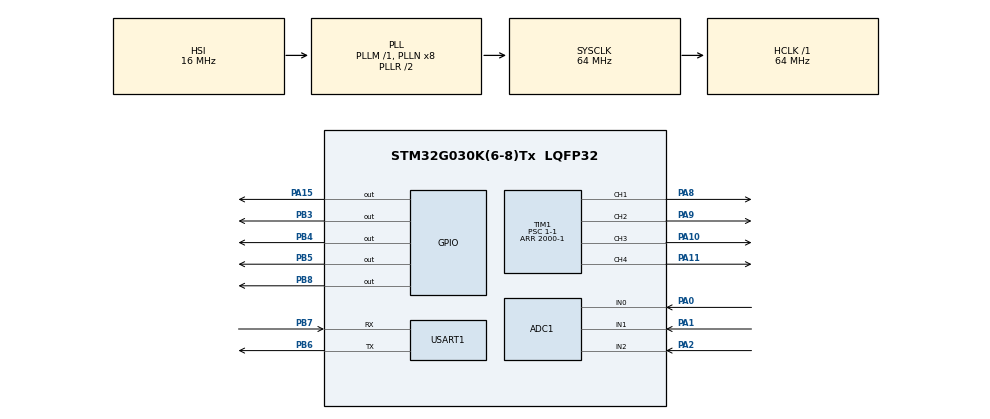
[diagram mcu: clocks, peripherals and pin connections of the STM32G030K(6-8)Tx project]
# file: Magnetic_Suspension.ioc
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ADC1.Channel-0\#ChannelRegularConversion=ADC_CHANNEL_0
ADC1.Channel-1\#ChannelRegularConversion=ADC_CHANNEL_1
ADC1.Channel-2\#ChannelRegularConversion=ADC_CHANNEL_2
ADC1.DMAContinuousRequests=ENABLE
ADC1.ExternalTrigConv=ADC_EXTERNALTRIG_T3_TRGO
ADC1.NbrOfConversion=3
ADC1.NbrOfConversionFlag=1
ADC1.Rank-0\#ChannelRegularConversion=1
ADC1.Rank-1\#ChannelRegularConversion=2
ADC1.Rank-2\#ChannelRegularConversion=3
ADC1.SamplingTime-0\#ChannelRegularConversion=ADC_SAMPLINGTIME_COMMON_1
ADC1.SamplingTime-1\#ChannelRegularConversion=ADC_SAMPLINGTIME_COMMON_1
ADC1.SamplingTime-2\#ChannelRegularConversion=ADC_SAMPLINGTIME_COMMON_1
ADC1.SamplingTimeCommon1=ADC_SAMPLETIME_160CYCLES_5
ADC1.SamplingTimeCommon2=ADC_SAMPLETIME_160CYCLES_5
ADC1.SelectedChannel=ADC_CHANNEL_0|ADC_CHANNEL_1|ADC_CHANNEL_2
ADC1.master=1
Dma.ADC1.0.Direction=DMA_PERIPH_TO_MEMORY
Dma.ADC1.0.EventEnable=DISABLE
Dma.ADC1.0.Instance=DMA1_Channel1
Dma.ADC1.0.MemDataAlignment=DMA_MDATAALIGN_HALFWORD
Dma.ADC1.0.MemInc=DMA_MINC_ENABLE
Dma.ADC1.0.Mode=DMA_CIRCULAR
Dma.ADC1.0.PeriphDataAlignment=DMA_PDATAALIGN_HALFWORD
Dma.ADC1.0.PeriphInc=DMA_PINC_DISABLE
Dma.ADC1.0.Polarity=HAL_DMAMUX_REQ_GEN_RISING
Dma.ADC1.0.Priority=DMA_PRIORITY_LOW
Dma.ADC1.0.RequestNumber=1
Dma.ADC1.0.SignalID=NONE
Dma.ADC1.0.SyncEnable=DISABLE
Dma.ADC1.0.SyncPolarity=HAL_DMAMUX_SYNC_NO_EVENT
Dma.ADC1.0.SyncRequestNumber=1
Dma.ADC1.0.SyncSignalID=NONE
Dma.Request0=ADC1
Mcu.Family=STM32G0
Mcu.Name=STM32G030K(6-8)Tx
Mcu.Package=LQFP32
NVIC.DMA1_Channel1_IRQn=true\:0\:0\:true\:false\:true\:false\:true
NVIC.TIM14_IRQn=true\:0\:0\:false\:false\:true\:true\:true
PA0.Mode=IN0
PA0.Signal=ADC1_IN0
PA1.Mode=IN1
PA1.Signal=ADC1_IN1
PA10.Signal=S_TIM1_CH3
PA11\ [PA9].Signal=S_TIM1_CH4
PA13.Mode=Serial_Wire
PA13.Signal=SYS_SWDIO
PA14-BOOT0.Mode=Serial_Wire
PA14-BOOT0.Signal=SYS_SWCLK
PA15.Signal=GPIO_Output
PA2.Mode=IN2
PA2.Signal=ADC1_IN2
PA8.Signal=S_TIM1_CH1
PA9.Signal=S_TIM1_CH2
PB3.Signal=GPIO_Output
PB4.Signal=GPIO_Output
PB5.Signal=GPIO_Output
PB6.Mode=Asynchronous
PB6.Signal=USART1_TX
PB7.Mode=Asynchronous
PB7.Signal=USART1_RX
PB8.Signal=GPIO_Output
ProjectManager.HeapSize=0x200
ProjectManager.StackSize=0x400
ProjectManager.TargetToolchain=MDK-ARM V5.32
RCC.ADCFreq_Value=64000000
RCC.AHBFreq_Value=64000000
RCC.CortexFreq_Value=64000000
RCC.EXTERNAL_CLOCK_VALUE=12288000
RCC.HCLKFreq_Value=64000000
RCC.HSE_VALUE=8000000
RCC.HSI_VALUE=16000000
RCC.LSE_VALUE=32768
RCC.SYSCLKFreq_VALUE=64000000
RCC.SYSCLKSource=RCC_SYSCLKSOURCE_PLLCLK
RCC.VCOOutputFreq_Value=128000000
SH.S_TIM1_CH1.0=TIM1_CH1,PWM Generation1 CH1
SH.S_TIM1_CH2.0=TIM1_CH2,PWM Generation2 CH2
SH.S_TIM1_CH3.0=TIM1_CH3,PWM Generation3 CH3
SH.S_TIM1_CH4.0=TIM1_CH4,PWM Generation4 CH4
TIM1.Channel-PWM\ Generation1\ CH1=TIM_CHANNEL_1
TIM1.Channel-PWM\ Generation2\ CH2=TIM_CHANNEL_2
TIM1.Channel-PWM\ Generation3\ CH3=TIM_CHANNEL_3
TIM1.Channel-PWM\ Generation4\ CH4=TIM_CHANNEL_4
TIM1.Period=2000-1
TIM1.Prescaler=1-1
TIM14.AutoReloadPreload=TIM_AUTORELOAD_PRELOAD_ENABLE
TIM14.ClockDivision=TIM_CLOCKDIVISION_DIV1
TIM14.Period=1000
TIM14.Prescaler=64-1
TIM3.Period=50
TIM3.Prescaler=2-1
TIM3.TIM_MasterOutputTrigger=TIM_TRGO_UPDATE
USART1.VirtualMode-Asynchronous=VM_ASYNC
VP_TIM14_VS_ClockSourceINT.Mode=Enable_Timer
VP_TIM1_VS_ClockSourceINT.Mode=Internal
VP_TIM3_VS_ClockSourceINT.Mode=Internal
board=custom

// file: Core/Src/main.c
/* USER CODE BEGIN Header */
/**
  ******************************************************************************
  * @file           : main.c
  * @brief          : Main program body
  ******************************************************************************
  * @attention
  *
  * <h2><center>&copy; Copyright (c) 2022 STMicroelectronics.
  * All rights reserved.</center></h2>
  *
  * This software component is licensed by ST under BSD 3-Clause license,
  * the "License"; You may not use this file except in compliance with the
  * License. You may obtain a copy of the License at:
  *                        opensource.org/licenses/BSD-3-Clause
  *
  ******************************************************************************
  */
/* USER CODE END Header */
#include "main.h"
#include "adc.h"
#include "dma.h"
#include "tim.h"
#include "usart.h"
#include "gpio.h"

/* USER CODE BEGIN Includes */
#include <stdio.h>
/* USER CODE END Includes */

void SystemClock_Config(void);

/* USER CODE BEGIN 0 */

static uint16_t s_adcRes[10][3];
static uint16_t adc_res[3];
void adc_init(void)
{
    HAL_ADC_Start_DMA(&hadc1, (uint32_t *)s_adcRes, 30);
}
uint16_t Adc1(void)
{
    uint32_t res = 0;
    for(uint8_t i = 0; i< 10; i++)
    {
        res += s_adcRes[i][0];
    }
    res = res / 10;
//    printf("ADC1: %d \r\n", res);
    return res;
}
uint16_t Adc2(void)
{
    uint32_t res = 0;
    for(uint8_t i = 0; i< 10; i++)
    {
        res += s_adcRes[i][1];
    }
    res = res / 10;
//    printf("ADC2: %d \r\n", res);
    return res;
}
uint16_t Adc3(void)
{
    uint32_t res = 0;
    for(uint8_t i = 0; i< 10; i++)
    {
        res += s_adcRes[i][2];
    }
    res = res / 10;
//    printf("ADC3: %d \r\n", res);
    return res;
}
int16_t COIL_X=0, COIL_Y=0, COIL_Z=0;
#define Max_Cycle Cycle - 10//限制幅度
#define Min_Cycle -(Cycle - 10)

typedef struct//结构体
{
    int targetValue;//设定值
    int Error;//误差
    int prevError;//上次误差
    int Integral;//误差积分
    float Kp;//比例系数
    float Ki;//没用
    float Kd;//微分系数
}PID;

PID xPID,yPID;

void Init_PID_Parameter(void)
{
    xPID.targetValue = 2450; //
    yPID.targetValue = 2600;
    xPID.Error = 0;
    yPID.Error = 0;
    xPID.prevError=0;
    yPID.prevError=0;

    xPID.Ki = 0.0f;
    yPID.Ki = 0.0f;

    xPID.Kp = 13.0f;
    yPID.Kp = 13.0f;

    xPID.Kd = 33.5f;
    yPID.Kd = 33.5f;
}
int16_t  Calc_PID(PID *pid,uint16_t Pos)//位置PID
{
    int16_t output;
    int16_t Differential;                              //微分变量

    pid->Error = (pid->targetValue - Pos);         //      误差有正负

    pid->Integral += pid->Error;                   //      误差累计

    Differential = pid->Error - pid->prevError;    //      微分部分本次误差减去上次误差

    output = (pid->Kp * pid->Error + pid->Integral * pid->Ki + pid->Kd * Differential);//通过比例 积分 微分参数算出输出控制量 可省略积分部分

    pid->prevError = pid->Error;                   //      本次误差赋值为上次

    if(output>Max_Cycle)                           //      超过上限则输出恒定值
        output = Max_Cycle;

    if(output<Min_Cycle)
        output = Min_Cycle;

    return output;
}
/**
  * @brief  电机PWM幅值
  * @param  moto1：电机1PWM
  * @param  moto2：电机2PWM
  * @retval 无
  */
void set_PWM(int16_t coil1,int16_t coil2)
{
	if(coil1 > 0)
	{
		PWM2_Duty(coil1);
		PWM1_Duty(0);
	}
	else
	{
		PWM2_Duty(0);
		PWM1_Duty(-coil1);
	}

	if(coil2 > 0)
	{
		PWM3_Duty(coil2);
		PWM4_Duty(0);
	}
	else
	{
		PWM3_Duty(0);
		PWM4_Duty(-coil2);
	}
}
void set_LED(uint8_t statue)
{
    if(statue == 0)
    {
        HAL_GPIO_WritePin(GPIOB, GPIO_PIN_8, GPIO_PIN_SET);
        HAL_GPIO_WritePin(GPIOB, GPIO_PIN_5, GPIO_PIN_SET);
        HAL_GPIO_WritePin(GPIOB, GPIO_PIN_4, GPIO_PIN_SET);
        HAL_GPIO_WritePin(GPIOB, GPIO_PIN_3, GPIO_PIN_SET);
        HAL_GPIO_WritePin(GPIOA, GPIO_PIN_15, GPIO_PIN_SET);
    }
    if(statue == 1)
    {
        HAL_GPIO_WritePin(GPIOB, GPIO_PIN_8, GPIO_PIN_RESET);
        HAL_GPIO_WritePin(GPIOB, GPIO_PIN_5, GPIO_PIN_RESET);
        HAL_GPIO_WritePin(GPIOB, GPIO_PIN_4, GPIO_PIN_RESET);
        HAL_GPIO_WritePin(GPIOB, GPIO_PIN_3, GPIO_PIN_RESET);
        HAL_GPIO_WritePin(GPIOA, GPIO_PIN_15, GPIO_PIN_RESET);
    }
}
/* USER CODE END 0 */

int main(void)
{
  /* USER CODE BEGIN 1 */
    uint8_t x = 0;
  /* USER CODE END 1 */

  /* MCU Configuration--------------------------------------------------------*/

  /* Reset of all peripherals, Initializes the Flash interface and the Systick. */
  HAL_Init();

  /* Configure the system clock */
  SystemClock_Config();

  /* Initialize all configured peripherals */
  MX_GPIO_Init();

  MX_TIM1_Init();
  MX_DMA_Init();
  MX_ADC1_Init();
  MX_TIM3_Init();
  MX_USART1_UART_Init();
  MX_TIM14_Init();
  /* USER CODE BEGIN 2 */

  adc_init();
  Init_PID_Parameter();
  HAL_Delay(10);
  /* USER CODE END 2 */

  /* Infinite loop */
  /* USER CODE BEGIN WHILE */
  while (1)
  {
    xPID.Kp = yPID.Kp;
    xPID.Kd = yPID.Kd;
    adc_res[0] = Adc1();
    adc_res[1] = Adc2();
    adc_res[2] = Adc3();
//    printf("ADC1: %d \r\n", s_adcRes[0][0]);
//    printf("ADC1: %d \r\n", s_adcRes[0][1]);
//    printf("ADC1: %d \r\n", s_adcRes[0][2]);
    x = !x;
    if(adc_res[2] < 3200)
        set_LED(x);
    else
        set_LED(0);

    HAL_Delay(500);
    /* USER CODE END WHILE */

  }
}

void SystemClock_Config(void)
{
  RCC_OscInitTypeDef RCC_OscInitStruct = {0};
  RCC_ClkInitTypeDef RCC_ClkInitStruct = {0};
  RCC_PeriphCLKInitTypeDef PeriphClkInit = {0};

  /** Configure the main internal regulator output voltage
  */
  HAL_PWREx_ControlVoltageScaling(PWR_REGULATOR_VOLTAGE_SCALE1);
  /** Initializes the RCC Oscillators according to the specified parameters
  * in the RCC_OscInitTypeDef structure.
  */
  RCC_OscInitStruct.OscillatorType = RCC_OSCILLATORTYPE_HSI;
  RCC_OscInitStruct.HSIState = RCC_HSI_ON;
  RCC_OscInitStruct.HSIDiv = RCC_HSI_DIV1;
  RCC_OscInitStruct.HSICalibrationValue = RCC_HSICALIBRATION_DEFAULT;
  RCC_OscInitStruct.PLL.PLLState = RCC_PLL_ON;
  RCC_OscInitStruct.PLL.PLLSource = RCC_PLLSOURCE_HSI;
  RCC_OscInitStruct.PLL.PLLM = RCC_PLLM_DIV1;
  RCC_OscInitStruct.PLL.PLLN = 8;
  RCC_OscInitStruct.PLL.PLLP = RCC_PLLP_DIV2;
  RCC_OscInitStruct.PLL.PLLR = RCC_PLLR_DIV2;
  if (HAL_RCC_OscConfig(&RCC_OscInitStruct) != HAL_OK)
  {
    Error_Handler();
  }
  /** Initializes the CPU, AHB and APB buses clocks
  */
  RCC_ClkInitStruct.ClockType = RCC_CLOCKTYPE_HCLK|RCC_CLOCKTYPE_SYSCLK
                              |RCC_CLOCKTYPE_PCLK1;
  RCC_ClkInitStruct.SYSCLKSource = RCC_SYSCLKSOURCE_PLLCLK;
  RCC_ClkInitStruct.AHBCLKDivider = RCC_SYSCLK_DIV1;
  RCC_ClkInitStruct.APB1CLKDivider = RCC_HCLK_DIV1;

  if (HAL_RCC_ClockConfig(&RCC_ClkInitStruct, FLASH_LATENCY_2) != HAL_OK)
  {
    Error_Handler();
  }
  /** Initializes the peripherals clocks
  */
  PeriphClkInit.PeriphClockSelection = RCC_PERIPHCLK_USART1|RCC_PERIPHCLK_ADC;
  PeriphClkInit.Usart1ClockSelection = RCC_USART1CLKSOURCE_PCLK1;
  PeriphClkInit.AdcClockSelection = RCC_ADCCLKSOURCE_SYSCLK;
  if (HAL_RCCEx_PeriphCLKConfig(&PeriphClkInit) != HAL_OK)
  {
    Error_Handler();
  }
}

/* USER CODE BEGIN 4 */

void HAL_TIM_PeriodElapsedCallback(TIM_HandleTypeDef *htim)    //定时中断回调函数
{
	if(htim->Instance == TIM14)
	{
        //传递ADC值
        //PID计算PWM
        COIL_X = Calc_PID(&xPID,Adc1());//位置PID
        COIL_Y = Calc_PID(&yPID,Adc2());//位置PID
        //没有浮子时关闭线圈
        if(Adc3() > 3200)
        {
            COIL_X = 0;
            COIL_Y = 0;
            PWM2_Duty(0);
            PWM1_Duty(0);
            PWM3_Duty(0);
            PWM4_Duty(0);
        }
    //    printf("PWM: %d , %d  \r\n", COIL_X, COIL_Y);
        //设置线圈PWM
        set_PWM(COIL_X, COIL_Y);
	}
}

/* USER CODE END 4 */

void Error_Handler(void)
{
  __disable_irq();
  while (1)
  {
  }
}

/************************ (C) COPYRIGHT STMicroelectronics *****END OF FILE****/
